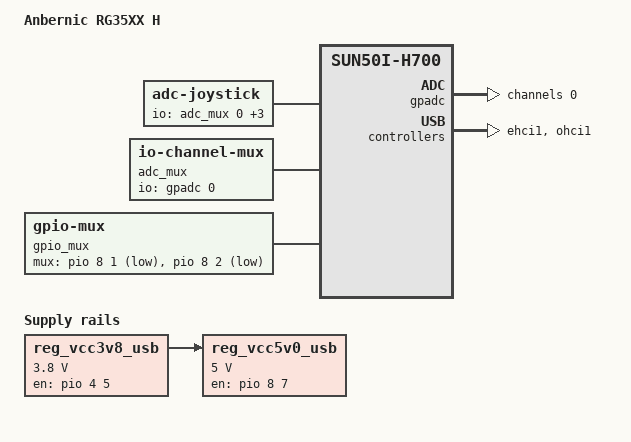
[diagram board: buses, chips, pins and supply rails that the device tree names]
// SPDX-License-Identifier: (GPL-2.0-only OR BSD-2-Clause)
/*
 * Copyright (C) 2024 Ryan Walklin <ryan@testtoast.com>.
 * Copyright (C) 2024 Chris Morgan <macroalpha82@gmail.com>.
 */

#include "sun50i-h700-anbernic-rg35xx-plus.dts"

/ {
	model = "Anbernic RG35XX H";
	compatible = "anbernic,rg35xx-h", "allwinner,sun50i-h700";

	adc-joystick {
		compatible = "adc-joystick";
		io-channels = <&adc_mux 0>,
			      <&adc_mux 1>,
			      <&adc_mux 2>,
			      <&adc_mux 3>;
		pinctrl-0 = <&joy_mux_pin>;
		pinctrl-names = "default";
		poll-interval = <60>;
		#address-cells = <1>;
		#size-cells = <0>;

		axis@0 {
			reg = <0>;
			abs-flat = <32>;
			abs-fuzz = <32>;
			abs-range = <4096 0>;
			linux,code = <ABS_X>;
		};

		axis@1 {
			reg = <1>;
			abs-flat = <32>;
			abs-fuzz = <32>;
			abs-range = <0 4096>;
			linux,code = <ABS_Y>;
		};

		axis@2 {
			reg = <2>;
			abs-flat = <32>;
			abs-fuzz = <32>;
			abs-range = <0 4096>;
			linux,code = <ABS_RX>;
		};

		axis@3 {
			reg = <3>;
			abs-flat = <32>;
			abs-fuzz = <32>;
			abs-range = <4096 0>;
			linux,code = <ABS_RY>;
		};
	};

	adc_mux: adc-mux {
		compatible = "io-channel-mux";
		channels = "left_x", "left_y", "right_x", "right_y";
		#io-channel-cells = <1>;
		io-channels = <&gpadc 0>;
		io-channel-names = "parent";
		mux-controls = <&gpio_mux>;
		settle-time-us = <100>;
	};

	gpio_mux: mux-controller {
		compatible = "gpio-mux";
		mux-gpios = <&pio 8 1 GPIO_ACTIVE_LOW>,
			    <&pio 8 2 GPIO_ACTIVE_LOW>;
		#mux-control-cells = <0>;
	};

	reg_vcc3v8_usb: regulator-vcc3v8-usb {
		compatible = "regulator-fixed";
		enable-active-high;
		gpio = <&pio 4 5 GPIO_ACTIVE_HIGH>; /* PE5 */
		regulator-min-microvolt = <3800000>;
		regulator-max-microvolt = <3800000>;
		regulator-name = "vcc3v8-usb";
	};

	reg_vcc5v0_usb: regulator-vcc5v0-usb {
		compatible = "regulator-fixed";
		enable-active-high;
		gpio = <&pio 8 7 GPIO_ACTIVE_HIGH>; /* PI7 */
		regulator-min-microvolt = <5000000>;
		regulator-max-microvolt = <5000000>;
		regulator-name = "vcc5v0-usb";
		vin-supply = <&reg_vcc3v8_usb>;
	};
};

&gpadc {
	#address-cells = <1>;
	#size-cells = <0>;
	status = "okay";

	channel@0 {
		reg = <0>;
	};
};

&gpio_keys_gamepad {
	button-thumbl {
		label = "GPIO Thumb Left";
		gpios = <&pio 4 8 GPIO_ACTIVE_LOW>; /* PE8 */
		linux,input-type = <EV_KEY>;
		linux,code = <BTN_THUMBL>;
	};

	button-thumbr {
		label = "GPIO Thumb Right";
		gpios = <&pio 4 9 GPIO_ACTIVE_LOW>; /* PE9 */
		linux,input-type = <EV_KEY>;
		linux,code = <BTN_THUMBR>;
	};
};

&ehci1 {
	status = "okay";
};

&ohci1 {
	status = "okay";
};

&pio {
	joy_mux_pin: joy-mux-pin {
		pins = "PI0";
		function = "gpio_out";
	};
};

&usbphy {
	usb1_vbus-supply = <&reg_vcc5v0_usb>;
};
